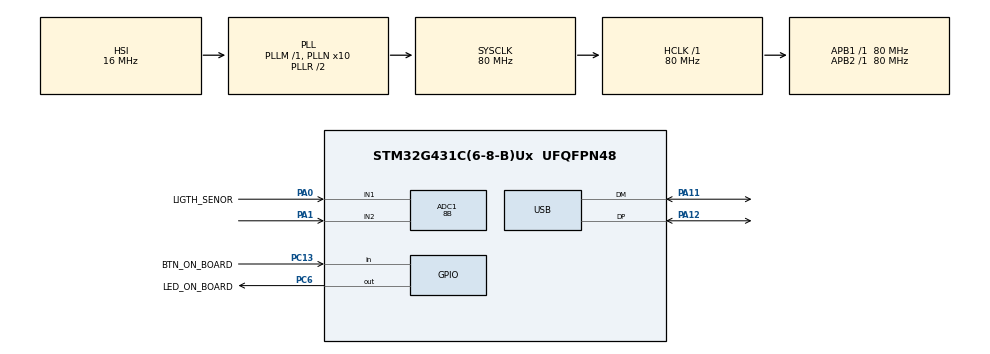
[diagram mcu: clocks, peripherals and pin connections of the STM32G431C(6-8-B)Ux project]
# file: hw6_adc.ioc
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ADC1.AWD1FilteringConfig=ADC_AWD_FILTERING_NONE
ADC1.AWD1HighThreshold=70
ADC1.AWD1ITMode=ENABLE
ADC1.AWD1LowThreshold=40
ADC1.Channel-4\#ChannelRegularConversion=ADC_CHANNEL_1
ADC1.ClockPrescaler=ADC_CLOCK_SYNC_PCLK_DIV2
ADC1.ContinuousConvMode=ENABLE
ADC1.EnableAnalogWatchDog1=true
ADC1.EnableInjectedConversion=ENABLE
ADC1.InjNumberOfConversion=1
ADC1.InjectedChannel-6\#ChannelInjectedConversion=ADC_CHANNEL_2
ADC1.InjectedConvMode=AutoInjected
ADC1.InjectedOffsetNumber-6\#ChannelInjectedConversion=ADC_OFFSET_NONE
ADC1.InjectedRank-6\#ChannelInjectedConversion=1
ADC1.InjectedSamplingTime-6\#ChannelInjectedConversion=ADC_SAMPLETIME_247CYCLES_5
ADC1.NbrOfConversion=1
ADC1.NbrOfConversionFlag=1
ADC1.OffsetNumber-4\#ChannelRegularConversion=ADC_OFFSET_NONE
ADC1.Overrun=ADC_OVR_DATA_PRESERVED
ADC1.Rank-4\#ChannelRegularConversion=1
ADC1.Rank1_Channel=ADC_CHANNEL_2
ADC1.Resolution=ADC_RESOLUTION_8B
ADC1.SamplingTime-4\#ChannelRegularConversion=ADC_SAMPLETIME_247CYCLES_5
ADC1.WatchdogChannel=ADC_CHANNEL_1
ADC1.master=1
Mcu.Family=STM32G4
Mcu.Name=STM32G431C(6-8-B)Ux
Mcu.Package=UFQFPN48
NVIC.ADC1_2_IRQn=true\:7\:0\:true\:false\:true\:true\:true\:true
NVIC.PriorityGroup=NVIC_PRIORITYGROUP_4
NVIC.USB_LP_IRQn=true\:9\:0\:true\:false\:true\:true\:true\:true
PA0.GPIO_Label=LIGTH_SENOR
PA0.Mode=IN1-Single-Ended
PA0.Signal=ADC1_IN1
PA1.Mode=IN2-Single-Ended
PA1.Signal=ADC1_IN2
PA11.Mode=Device
PA11.Signal=USB_DM
PA12.Mode=Device
PA12.Signal=USB_DP
PA13.Mode=Serial_Wire
PA13.Signal=SYS_JTMS-SWDIO
PA14.Mode=Serial_Wire
PA14.Signal=SYS_JTCK-SWCLK
PC13.GPIO_Label=BTN_ON_BOARD
PC13.GPIO_PuPd=GPIO_PULLUP
PC13.Signal=GPIO_Input
PC14-OSC32_IN.Mode=LSE-External-Oscillator
PC14-OSC32_IN.Signal=RCC_OSC32_IN
PC15-OSC32_OUT.Mode=LSE-External-Oscillator
PC15-OSC32_OUT.Signal=RCC_OSC32_OUT
PC6.GPIO_Label=LED_ON_BOARD
PC6.Signal=GPIO_Output
PF0-OSC_IN.Mode=HSE-External-Oscillator
PF0-OSC_IN.Signal=RCC_OSC_IN
PF1-OSC_OUT.Mode=HSE-External-Oscillator
PF1-OSC_OUT.Signal=RCC_OSC_OUT
ProjectManager.HeapSize=0x200
ProjectManager.StackSize=0x400
ProjectManager.TargetToolchain=STM32CubeIDE
RCC.ADC12Freq_Value=80000000
RCC.AHBFreq_Value=80000000
RCC.APB1Freq_Value=80000000
RCC.APB1TimFreq_Value=80000000
RCC.APB2Freq_Value=80000000
RCC.APB2TimFreq_Value=80000000
RCC.CK48CLockSelection=RCC_USBCLKSOURCE_HSI48
RCC.CortexFreq_Value=80000000
RCC.EXTERNAL_CLOCK_VALUE=12288000
RCC.HCLKFreq_Value=80000000
RCC.HSE_VALUE=8000000
RCC.HSI48_VALUE=48000000
RCC.HSI_VALUE=16000000
RCC.PLLN=10
RCC.PLLP=RCC_PLLP_DIV10
RCC.SYSCLKFreq_VALUE=80000000
RCC.SYSCLKSource=RCC_SYSCLKSOURCE_PLLCLK
RCC.USBFreq_Value=48000000
RCC.VCOOutputFreq_Value=160000000
USB_DEVICE.CLASS_NAME_FS=CDC
USB_DEVICE.MANUFACTURER_STRING=EE_IUS2
USB_DEVICE.VirtualMode=Cdc
USB_DEVICE.VirtualModeFS=Cdc_FS
VP_SYS_VS_DBSignals.Mode=DisableDeadBatterySignals
VP_USB_DEVICE_VS_USB_DEVICE_CDC_FS.Mode=CDC_FS
board=custom

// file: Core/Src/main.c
/* USER CODE BEGIN Header */
/**
  ******************************************************************************
  * @file           : main.c
  * @brief          : Main program body
  ******************************************************************************
  * @attention
  *
  * Copyright (c) 2025 STMicroelectronics.
  * All rights reserved.
  *
  * This software is licensed under terms that can be found in the LICENSE file
  * in the root directory of this software component.
  * If no LICENSE file comes with this software, it is provided AS-IS.
  *
  ******************************************************************************
  */
/* USER CODE END Header */
#include "main.h"
#include "usb_device.h"

/* USER CODE BEGIN Includes */

#include "../App/light_ctrl.h"

/* USER CODE END Includes */

/* USER CODE BEGIN PD */
#define TIMESTAMP 300
/* USER CODE END PD */

ADC_HandleTypeDef hadc1;

/* USER CODE BEGIN PV */
volatile uint8_t light_value_flag = 0;
volatile uint16_t light_sensor_value = 0;

volatile uint8_t threshold_value_flag = 0;
volatile uint16_t new_threshold = 0;
/* USER CODE END PV */

void SystemClock_Config(void);
static void MX_GPIO_Init(void);
static void MX_ADC1_Init(void);

int main(void)
{

  /* USER CODE BEGIN 1 */
  light_t light = {
      .sensor = {
          .hadc = &hadc1,
          .AWDx = ADC_ANALOGWATCHDOG_1,
          .high_threshold = 0,
          .low_threshold = 0,
          .value = 0
      },
      .led = {
          .port = LED_ON_BOARD_GPIO_Port,
          .pin = LED_ON_BOARD_Pin,
          .state = 0
      },
      .threshold = 0,
      .hyster = 40
  };
  volatile uint32_t ts = 0;

  /* USER CODE END 1 */

  /* MCU Configuration--------------------------------------------------------*/

  /* Reset of all peripherals, Initializes the Flash interface and the Systick. */
  HAL_Init();

  /* Configure the system clock */
  SystemClock_Config();

  /* Initialize all configured peripherals */
  MX_GPIO_Init();
  MX_USB_Device_Init();
  MX_ADC1_Init();
  /* USER CODE BEGIN 2 */

  HAL_ADCEx_Calibration_Start(&hadc1, ADC_SINGLE_ENDED);
  HAL_ADC_Start_IT(&hadc1);
  HAL_ADCEx_InjectedStart_IT(&hadc1);

  while(!threshold_value_flag)
  {;}
  light_update_threshold(&light, new_threshold);
  threshold_value_flag = 0;

  /* USER CODE END 2 */

  /* Infinite loop */
  /* USER CODE BEGIN WHILE */

  while (1)
  {
    if(HAL_GetTick()- ts >= TIMESTAMP)
    {
      ts = HAL_GetTick();
      if(light_value_flag)
      {
        light_value_flag = 0;
        light_toggle(&light, light_sensor_value);
      }
      if(threshold_value_flag)
      {
        light_update_threshold(&light, new_threshold);
        threshold_value_flag = 0;
      }
      light_send_state(&light);
    }
    /* USER CODE END WHILE */

  }
}

void SystemClock_Config(void)
{
  RCC_OscInitTypeDef RCC_OscInitStruct = {0};
  RCC_ClkInitTypeDef RCC_ClkInitStruct = {0};

  /** Configure the main internal regulator output voltage
  */
  HAL_PWREx_ControlVoltageScaling(PWR_REGULATOR_VOLTAGE_SCALE1);

  /** Initializes the RCC Oscillators according to the specified parameters
  * in the RCC_OscInitTypeDef structure.
  */
  RCC_OscInitStruct.OscillatorType = RCC_OSCILLATORTYPE_HSI|RCC_OSCILLATORTYPE_HSI48;
  RCC_OscInitStruct.HSIState = RCC_HSI_ON;
  RCC_OscInitStruct.HSICalibrationValue = RCC_HSICALIBRATION_DEFAULT;
  RCC_OscInitStruct.HSI48State = RCC_HSI48_ON;
  RCC_OscInitStruct.PLL.PLLState = RCC_PLL_ON;
  RCC_OscInitStruct.PLL.PLLSource = RCC_PLLSOURCE_HSI;
  RCC_OscInitStruct.PLL.PLLM = RCC_PLLM_DIV1;
  RCC_OscInitStruct.PLL.PLLN = 10;
  RCC_OscInitStruct.PLL.PLLP = RCC_PLLP_DIV10;
  RCC_OscInitStruct.PLL.PLLQ = RCC_PLLQ_DIV2;
  RCC_OscInitStruct.PLL.PLLR = RCC_PLLR_DIV2;
  if (HAL_RCC_OscConfig(&RCC_OscInitStruct) != HAL_OK)
  {
    Error_Handler();
  }

  /** Initializes the CPU, AHB and APB buses clocks
  */
  RCC_ClkInitStruct.ClockType = RCC_CLOCKTYPE_HCLK|RCC_CLOCKTYPE_SYSCLK
                              |RCC_CLOCKTYPE_PCLK1|RCC_CLOCKTYPE_PCLK2;
  RCC_ClkInitStruct.SYSCLKSource = RCC_SYSCLKSOURCE_PLLCLK;
  RCC_ClkInitStruct.AHBCLKDivider = RCC_SYSCLK_DIV1;
  RCC_ClkInitStruct.APB1CLKDivider = RCC_HCLK_DIV1;
  RCC_ClkInitStruct.APB2CLKDivider = RCC_HCLK_DIV1;

  if (HAL_RCC_ClockConfig(&RCC_ClkInitStruct, FLASH_LATENCY_2) != HAL_OK)
  {
    Error_Handler();
  }
}

static void MX_ADC1_Init(void)
{

  ADC_MultiModeTypeDef multimode = {0};
  ADC_AnalogWDGConfTypeDef AnalogWDGConfig = {0};
  ADC_ChannelConfTypeDef sConfig = {0};
  ADC_InjectionConfTypeDef sConfigInjected = {0};

  /** Common config
  */
  hadc1.Instance = ADC1;
  hadc1.Init.ClockPrescaler = ADC_CLOCK_SYNC_PCLK_DIV2;
  hadc1.Init.Resolution = ADC_RESOLUTION_8B;
  hadc1.Init.DataAlign = ADC_DATAALIGN_RIGHT;
  hadc1.Init.GainCompensation = 0;
  hadc1.Init.ScanConvMode = ADC_SCAN_DISABLE;
  hadc1.Init.EOCSelection = ADC_EOC_SINGLE_CONV;
  hadc1.Init.LowPowerAutoWait = DISABLE;
  hadc1.Init.ContinuousConvMode = ENABLE;
  hadc1.Init.NbrOfConversion = 1;
  hadc1.Init.DiscontinuousConvMode = DISABLE;
  hadc1.Init.ExternalTrigConv = ADC_SOFTWARE_START;
  hadc1.Init.ExternalTrigConvEdge = ADC_EXTERNALTRIGCONVEDGE_NONE;
  hadc1.Init.DMAContinuousRequests = DISABLE;
  hadc1.Init.Overrun = ADC_OVR_DATA_PRESERVED;
  hadc1.Init.OversamplingMode = DISABLE;
  if (HAL_ADC_Init(&hadc1) != HAL_OK)
  {
    Error_Handler();
  }

  /** Configure the ADC multi-mode
  */
  multimode.Mode = ADC_MODE_INDEPENDENT;
  if (HAL_ADCEx_MultiModeConfigChannel(&hadc1, &multimode) != HAL_OK)
  {
    Error_Handler();
  }

  /** Configure Analog WatchDog 1
  */
  AnalogWDGConfig.WatchdogNumber = ADC_ANALOGWATCHDOG_1;
  AnalogWDGConfig.WatchdogMode = ADC_ANALOGWATCHDOG_SINGLE_REG;
  AnalogWDGConfig.Channel = ADC_CHANNEL_1;
  AnalogWDGConfig.ITMode = ENABLE;
  AnalogWDGConfig.HighThreshold = 70;
  AnalogWDGConfig.LowThreshold = 40;
  AnalogWDGConfig.FilteringConfig = ADC_AWD_FILTERING_NONE;
  if (HAL_ADC_AnalogWDGConfig(&hadc1, &AnalogWDGConfig) != HAL_OK)
  {
    Error_Handler();
  }

  /** Configure Regular Channel
  */
  sConfig.Channel = ADC_CHANNEL_1;
  sConfig.Rank = ADC_REGULAR_RANK_1;
  sConfig.SamplingTime = ADC_SAMPLETIME_247CYCLES_5;
  sConfig.SingleDiff = ADC_SINGLE_ENDED;
  sConfig.OffsetNumber = ADC_OFFSET_NONE;
  sConfig.Offset = 0;
  if (HAL_ADC_ConfigChannel(&hadc1, &sConfig) != HAL_OK)
  {
    Error_Handler();
  }

  /** Configure Injected Channel
  */
  sConfigInjected.InjectedChannel = ADC_CHANNEL_2;
  sConfigInjected.InjectedRank = ADC_INJECTED_RANK_1;
  sConfigInjected.InjectedSamplingTime = ADC_SAMPLETIME_247CYCLES_5;
  sConfigInjected.InjectedSingleDiff = ADC_SINGLE_ENDED;
  sConfigInjected.InjectedOffsetNumber = ADC_OFFSET_NONE;
  sConfigInjected.InjectedOffset = 0;
  sConfigInjected.InjectedNbrOfConversion = 1;
  sConfigInjected.InjectedDiscontinuousConvMode = DISABLE;
  sConfigInjected.AutoInjectedConv = ENABLE;
  sConfigInjected.QueueInjectedContext = DISABLE;
  sConfigInjected.ExternalTrigInjecConv = ADC_INJECTED_SOFTWARE_START;
  sConfigInjected.ExternalTrigInjecConvEdge = ADC_EXTERNALTRIGINJECCONV_EDGE_NONE;
  sConfigInjected.InjecOversamplingMode = DISABLE;
  if (HAL_ADCEx_InjectedConfigChannel(&hadc1, &sConfigInjected) != HAL_OK)
  {
    Error_Handler();
  }

}

static void MX_GPIO_Init(void)
{
  GPIO_InitTypeDef GPIO_InitStruct = {0};

  /* GPIO Ports Clock Enable */
  __HAL_RCC_GPIOC_CLK_ENABLE();
  __HAL_RCC_GPIOF_CLK_ENABLE();
  __HAL_RCC_GPIOA_CLK_ENABLE();

  /*Configure GPIO pin Output Level */
  HAL_GPIO_WritePin(LED_ON_BOARD_GPIO_Port, LED_ON_BOARD_Pin, GPIO_PIN_RESET);

  /*Configure GPIO pin : BTN_ON_BOARD_Pin */
  GPIO_InitStruct.Pin = BTN_ON_BOARD_Pin;
  GPIO_InitStruct.Mode = GPIO_MODE_INPUT;
  GPIO_InitStruct.Pull = GPIO_PULLUP;
  HAL_GPIO_Init(BTN_ON_BOARD_GPIO_Port, &GPIO_InitStruct);

  /*Configure GPIO pin : LED_ON_BOARD_Pin */
  GPIO_InitStruct.Pin = LED_ON_BOARD_Pin;
  GPIO_InitStruct.Mode = GPIO_MODE_OUTPUT_PP;
  GPIO_InitStruct.Pull = GPIO_NOPULL;
  GPIO_InitStruct.Speed = GPIO_SPEED_FREQ_LOW;
  HAL_GPIO_Init(LED_ON_BOARD_GPIO_Port, &GPIO_InitStruct);

}

/* USER CODE BEGIN 4 */

void HAL_ADC_LevelOutOfWindowCallback(ADC_HandleTypeDef *hadc)
{
  if(hadc == &hadc1)
  {
    light_sensor_value = HAL_ADC_GetValue(&hadc1);
    light_value_flag = 1;
  }
}

void HAL_ADCEx_InjectedConvCpltCallback(ADC_HandleTypeDef* hadc)
{
  if(hadc == &hadc1)
  {
    new_threshold = HAL_ADCEx_InjectedGetValue(hadc, ADC_INJECTED_RANK_1);
    threshold_value_flag = 1;
  }
}

/* USER CODE END 4 */

void Error_Handler(void)
{
  __disable_irq();
  while (1)
  {
  }
}
